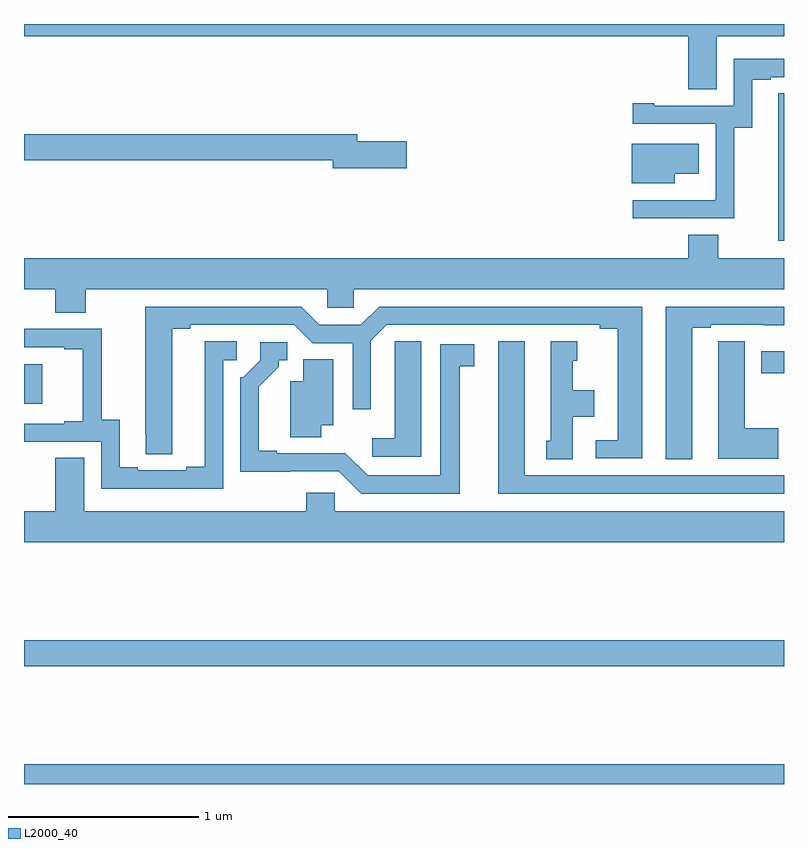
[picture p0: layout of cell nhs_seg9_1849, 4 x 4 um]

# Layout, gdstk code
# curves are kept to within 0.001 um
import gdstk
lib = gdstk.Library(unit=1e-6, precision=1e-09)
def R(c, l, rs):  # rectangles x0, y0, x1, y1
    for r in rs: c.add(gdstk.rectangle(r[:2], r[2:], *l))
def P(c, l, *ps):  # polygons
    for p in ps: c.add(gdstk.Polygon(p, *l))
L2000_40 = (2000, 40)

nhs_seg9_1849 = lib.new_cell('nhs_seg9_1849')
R(nhs_seg9_1849, L2000_40, [(215,1176.5,219,1176.604), (215,1177.12,219,1177.256), (215,1178.501,215.095,1178.71), (218.879,1178.662,219,1178.778)])
P(nhs_seg9_1849, L2000_40, [(218.647,1180.436),(219,1180.436),(219,1180.5),(215,1180.5),(215,1180.436),(218.495,1180.436),(218.495,1180.156),(218.647,1180.156)],
  [(218.739,1179.955),(218.833,1179.955),(218.833,1180.206),(218.929,1180.206),(218.929,1180.221),(219,1180.221),(219,1180.317),(218.736,1180.317),(218.736,1180.071),(218.317,1180.071),(218.317,1180.084),(218.205,1180.084),(218.205,1179.975),(218.64,1179.975),(218.64,1179.574),(218.639,1179.574),(218.639,1179.573),(218.205,1179.573),(218.205,1179.477),(218.739,1179.477)],
  [(219,1180.136),(218.97,1180.136),(218.97,1180.028),(218.969,1180.028),(218.969,1179.36),(219,1179.36)],
  [(217.015,1179.884),(216.754,1179.884),(216.754,1179.92),(215,1179.92),(215,1179.784),(216.626,1179.784),(216.626,1179.742),(217.015,1179.742)],
  [(218.425,1179.713),(218.551,1179.713),(218.551,1179.871),(218.198,1179.871),(218.198,1179.662),(218.425,1179.662)],
  [(215.325,1179.104),(216.597,1179.104),(216.597,1179.006),(216.735,1179.006),(216.735,1179.104),(219,1179.104),(219,1179.268),(218.655,1179.268),(218.655,1179.392),(218.495,1179.392),(218.495,1179.268),(215,1179.268),(215,1179.104),(215.165,1179.104),(215.165,1178.98),(215.325,1178.98)],
  [(218.518,1178.901),(218.614,1178.901),(218.614,1178.916),(218.89,1178.916),(218.89,1178.915),(219,1178.915),(219,1179.012),(218.378,1179.012),(218.378,1178.209),(218.518,1178.209)],
  [(218.254,1179.012),(216.869,1179.012),(216.773,1178.916),(216.555,1178.916),(216.459,1179.012),(215.639,1179.012),(215.64,1178.236),(215.779,1178.236),(215.779,1178.896),(215.875,1178.896),(215.875,1178.916),(216.423,1178.916),(216.519,1178.82),(216.729,1178.82),(216.729,1178.472),(216.825,1178.472),(216.825,1178.832),(216.909,1178.916),(218.03,1178.916),(218.03,1178.896),(218.126,1178.896),(218.126,1178.31),(218.01,1178.31),(218.01,1178.214),(218.254,1178.214)],
  [(216.048,1178.73),(216.121,1178.73),(216.121,1178.831),(215.951,1178.831),(215.951,1178.171),(215.855,1178.171),(215.855,1178.151),(215.599,1178.151),(215.599,1178.166),(215.503,1178.166),(215.503,1178.417),(215.409,1178.417),(215.409,1178.895),(215,1178.895),(215,1178.799),(215.213,1178.799),(215.213,1178.787),(215.309,1178.787),(215.309,1178.41),(215.213,1178.41),(215.213,1178.397),(215,1178.397),(215,1178.301),(215.406,1178.301),(215.406,1178.055),(216.048,1178.055)],
  [(218.971,1178.373),(218.794,1178.373),(218.794,1178.831),(218.655,1178.831),(218.655,1178.723),(218.654,1178.723),(218.654,1178.213),(218.971,1178.213)],
  [(217.09,1178.831),(216.951,1178.831),(216.951,1178.723),(216.95,1178.723),(216.95,1178.32),(216.834,1178.32),(216.834,1178.223),(217.09,1178.223)],
  [(217.888,1178.432),(218.002,1178.432),(218.002,1178.572),(217.888,1178.572),(217.888,1178.727),(217.912,1178.727),(217.912,1178.83),(217.772,1178.83),(217.772,1178.307),(217.748,1178.307),(217.748,1178.209),(217.888,1178.209)],
  [(219,1178.124),(217.636,1178.124),(217.636,1178.83),(217.496,1178.83),(217.496,1178.028),(219,1178.028)],
  [(217.294,1178.698),(217.369,1178.698),(217.369,1178.814),(217.19,1178.814),(217.19,1178.124),(216.81,1178.124),(216.692,1178.242),(216.331,1178.241),(216.331,1178.254),(216.235,1178.254),(216.235,1178.59),(216.34,1178.695),(216.34,1178.73),(216.385,1178.73),(216.385,1178.826),(216.243,1178.826),(216.243,1178.73),(216.153,1178.64),(216.138,1178.64),(216.138,1178.144),(216.657,1178.145),(216.774,1178.028),(217.294,1178.028)],
  [(216.565,1178.387),(216.628,1178.387),(216.628,1178.735),(216.47,1178.735),(216.47,1178.62),(216.401,1178.62),(216.401,1178.326),(216.565,1178.326)],
  [(219,1177.936),(216.636,1177.936),(216.636,1178.034),(216.485,1178.034),(216.485,1177.936),(215.317,1177.936),(215.317,1178.216),(215.165,1178.216),(215.165,1177.936),(215,1177.936),(215,1177.772),(219,1177.772)])

lib.write_gds('nhs_seg9_1849.gds')
